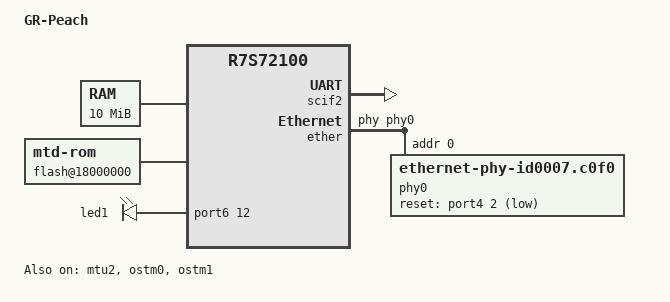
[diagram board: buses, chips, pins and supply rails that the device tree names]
// SPDX-License-Identifier: GPL-2.0
/*
 * Device Tree Source for the GR-Peach board
 *
 * Copyright (C) 2017 Jacopo Mondi <jacopo+renesas@jmondi.org>
 * Copyright (C) 2016 Renesas Electronics
 */

/dts-v1/;
#include "r7s72100.dtsi"
#include <dt-bindings/gpio/gpio.h>
#include <dt-bindings/pinctrl/r7s72100-pinctrl.h>

/ {
	model = "GR-Peach";
	compatible = "renesas,gr-peach", "renesas,r7s72100";

	aliases {
		serial0 = &scif2;
	};

	chosen {
		bootargs = "ignore_loglevel rw root=/dev/mtdblock0";
		stdout-path = "serial0:115200n8";
	};

	memory@20000000 {
		device_type = "memory";
		reg = <0x20000000 0x00a00000>;
	};

	flash@18000000 {
		compatible = "mtd-rom";
		reg = <0x18000000 0x00800000>;
		bank-width = <4>;
		device-width = <1>;

		clocks = <&mstp9_clks R7S72100_CLK_SPIBSC0>;
		power-domains = <&cpg_clocks>;

		#address-cells = <1>;
		#size-cells = <1>;

		rootfs@600000 {
			label = "rootfs";
			reg = <0x00600000 0x00200000>;
		};
	};

	leds {
		status = "okay";
		compatible = "gpio-leds";

		led1 {
			gpios = <&port6 12 GPIO_ACTIVE_HIGH>;
		};
	};
};

&pinctrl {
	scif2_pins: serial2 {
		/* P6_2 as RxD2; P6_3 as TxD2 */
		pinmux = <RZA1_PINMUX(6, 2, 7)>, <RZA1_PINMUX(6, 3, 7)>;
	};

	ether_pins: ether {
		/* Ethernet on Ports 1,3,5,10 */
		pinmux = <RZA1_PINMUX(1, 14, 4)>, /* P1_14 = ET_COL   */
			 <RZA1_PINMUX(3, 0, 2)>,  /* P3_0 = ET_TXCLK  */
			 <RZA1_PINMUX(3, 3, 2)>,  /* P3_3 = ET_MDIO   */
			 <RZA1_PINMUX(3, 4, 2)>,  /* P3_4 = ET_RXCLK  */
			 <RZA1_PINMUX(3, 5, 2)>,  /* P3_5 = ET_RXER   */
			 <RZA1_PINMUX(3, 6, 2)>,  /* P3_6 = ET_RXDV   */
			 <RZA1_PINMUX(5, 9, 2)>,  /* P5_9 = ET_MDC    */
			 <RZA1_PINMUX(10, 1, 4)>, /* P10_1 = ET_TXER  */
			 <RZA1_PINMUX(10, 2, 4)>, /* P10_2 = ET_TXEN  */
			 <RZA1_PINMUX(10, 3, 4)>, /* P10_3 = ET_CRS   */
			 <RZA1_PINMUX(10, 4, 4)>, /* P10_4 = ET_TXD0  */
			 <RZA1_PINMUX(10, 5, 4)>, /* P10_5 = ET_TXD1  */
			 <RZA1_PINMUX(10, 6, 4)>, /* P10_6 = ET_TXD2  */
			 <RZA1_PINMUX(10, 7, 4)>, /* P10_7 = ET_TXD3  */
			 <RZA1_PINMUX(10, 8, 4)>, /* P10_8 = ET_RXD0  */
			 <RZA1_PINMUX(10, 9, 4)>, /* P10_9 = ET_RXD1  */
			 <RZA1_PINMUX(10, 10, 4)>,/* P10_10 = ET_RXD2 */
			 <RZA1_PINMUX(10, 11, 4)>;/* P10_11 = ET_RXD3 */
	};
};

&extal_clk {
	clock-frequency = <13333000>;
};

&usb_x1_clk {
	clock-frequency = <48000000>;
};

&mtu2 {
	status = "okay";
};

&ostm0 {
	status = "okay";
};

&ostm1 {
	status = "okay";
};

&scif2 {
	pinctrl-names = "default";
	pinctrl-0 = <&scif2_pins>;

	status = "okay";
};

&ether {
	pinctrl-names = "default";
	pinctrl-0 = <&ether_pins>;

	status = "okay";

	renesas,no-ether-link;
	phy-handle = <&phy0>;

	phy0: ethernet-phy@0 {
		compatible = "ethernet-phy-id0007.c0f0",
			     "ethernet-phy-ieee802.3-c22";
		reg = <0>;

		reset-gpios = <&port4 2 GPIO_ACTIVE_LOW>;
		reset-delay-us = <5>;
	};
};
